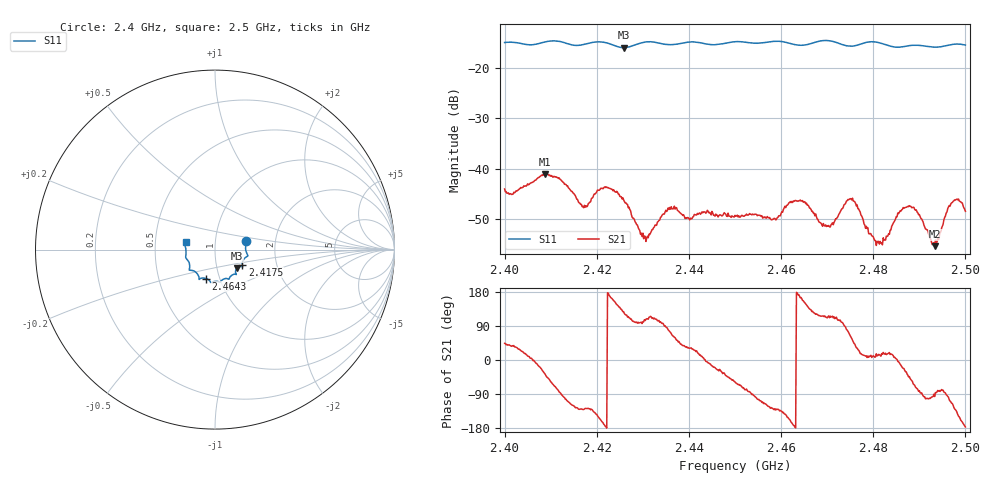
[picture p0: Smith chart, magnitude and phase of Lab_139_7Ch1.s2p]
# Hz S RI R 50
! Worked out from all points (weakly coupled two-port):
!   601 points, 2.4 GHz to 2.5 GHz, reference 50 ohm
!   highest |S21| = -41.12 dB at 2.4088 GHz (marker M1); lowest = -55.5 dB at 2.4933 GHz (marker M2)
!   lowest |S11| = -15.9 dB at 2.4258 GHz (marker M3), VSWR 1.38, Z = 62.3 - j13.2 ohm
!   |S11| at or under -10 dB: start of sweep to end of sweep
!   S12 and S22 are empty: the file has one direction only
!   S11 on the Smith chart (normalised r, x): 2.4 GHz: 1.41, +0.14; 2.4175 GHz: 1.34, -0.23; 2.4643 GHz: 0.86, -0.29; 2.5 GHz: 0.72, +0.06
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2.4e9  0.1728 0.0488  0.00451 0.00434  0 0  0 0
2.408833e9  0.1806 -0.0274  0.00692 -0.00542  0 0  0 0
2.416667e9  0.1528 -0.0741  -0.00277 -0.00342  0 0  0 0
2.4175e9  0.1518 -0.0834  -0.00252 -0.00327  0 0  0 0
2.421667e9  0.1527 -0.0957  -0.00646 -0.000976  0 0  0 0
2.425833e9  0.1217 -0.1034  -0.00297 0.00387  0 0  0 0
2.430333e9  0.118 -0.1371  -0.000598 0.00205  0 0  0 0
2.433333e9  0.1132 -0.1371  -0.000704 0.00289  0 0  0 0
2.436333e9  0.092 -0.1443  0.00161 0.00362  0 0  0 0
2.45e9  0.0288 -0.1808  0.00183 -0.0029  0 0  0 0
2.4585e9  -0.0208 -0.1833  -0.0021 -0.00241  0 0  0 0
2.464333e9  -0.0498 -0.161  -0.00458 0.00124  0 0  0 0
2.466667e9  -0.0758 -0.1593  -0.0023 0.00296  0 0  0 0
2.470333e9  -0.088 -0.1654  -0.00121 0.00243  0 0  0 0
2.475333e9  -0.1093 -0.1239  0.00267 0.00407  0 0  0 0
2.4805e9  -0.1435 -0.1114  0.0019 0.00027  0 0  0 0
2.483333e9  -0.141 -0.0901  0.00213 0.000688  0 0  0 0
2.485833e9  -0.1483 -0.0644  0.00373 -0.000696  0 0  0 0
2.488333e9  -0.1613 -0.0483  0.00239 -0.0033  0 0  0 0
2.493333e9  -0.1612 -0.0103  -0.000186 -0.00168  0 0  0 0
2.497333e9  -0.17 0.0289  -0.00231 -0.00411  0 0  0 0
2.5e9  -0.164 0.043  -0.00375 -0.000221  0 0  0 0
